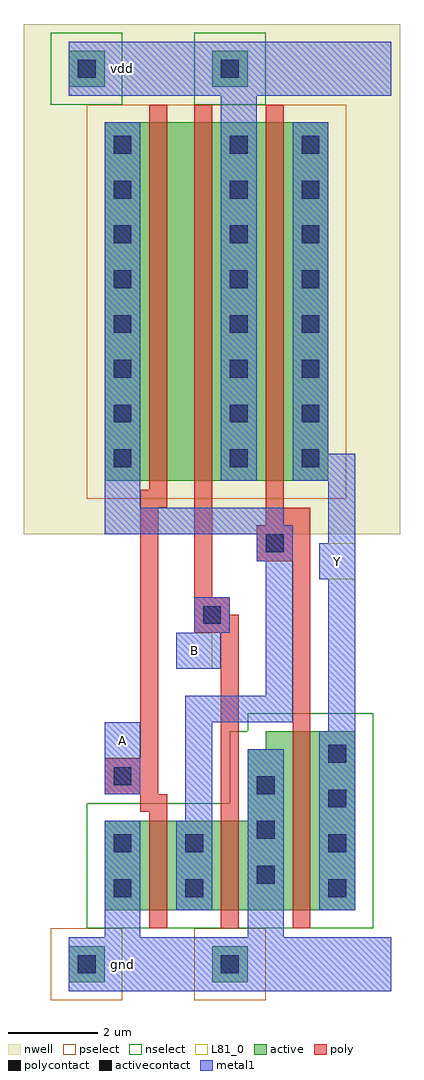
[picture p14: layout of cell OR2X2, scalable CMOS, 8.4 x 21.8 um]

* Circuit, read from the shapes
.subckt OR2X2 A B Y gnd vdd
M1 n1 A gnd gnd nfet w=2u l=0.4u
M2 gnd B n1 gnd nfet w=2u l=0.4u
M3 Y n1 gnd gnd nfet w=4u l=0.4u
M4 n2 A n1 vdd pfet w=8u l=0.4u
M5 vdd B n2 vdd pfet w=8u l=0.4u
M6 Y n1 vdd vdd pfet w=8u l=0.4u
.ends

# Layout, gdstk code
import gdstk
lib = gdstk.Library(unit=1e-6, precision=1e-09)
def R(c, l, rs):  # rectangles x0, y0, x1, y1
    for r in rs: c.add(gdstk.rectangle(r[:2], r[2:], *l))
def A(c, l, x, y, w, h, nx, ny, dx, dy):  # array of equal rectangles
    R(c, l, [(x+i*dx, y+j*dy, x+i*dx+w, y+j*dy+h) for i in range(nx) for j in range(ny)])
nwell = (42, 0)
active = (43, 0)
pselect = (44, 0)
nselect = (45, 0)
poly = (46, 0)
polycontact = (47, 0)
activecontact = (48, 0)
metal1 = (49, 0)
L81_0 = (81, 0)

or2x2 = lib.new_cell('OR2X2')
R(or2x2, nwell, [(-1.4,9.6,7,21)])
R(or2x2, active, [(-0.4,-0.4,0.4,0.4), (2.8,-0.4,3.6,0.4), (0.4,1.2,6,3.2), (3.6,3.2,6,4.8), (4,4.8,6,5.2), (0.4,10.8,5.4,18.8), (-0.4,19.6,0.4,20.4), (2.8,19.6,3.6,20.4)])
R(or2x2, pselect, [(-0.8,-0.8,0.8,0.8), (2.4,-0.8,4,0.8), (0,10.4,5.8,19.2)])
R(or2x2, nselect, [(0,0.8,6.4,3.6), (3.2,3.6,6.4,5.2), (3.6,5.2,6.4,5.6), (-0.8,19.2,0.8,20.8), (2.4,19.2,4,20.8)])
R(or2x2, poly, [(1.4,0.8,1.8,3.4), (3,0.8,3.4,7.4), (4.6,0.8,5,9), (1.2,3.4,1.8,3.8), (0.4,3.8,1.6,4.6), (1.2,4.6,1.6,10.2), (2.4,7.4,3.4,7.8), (2.4,7.8,3.2,8.2), (2.4,8.2,2.8,19.2), (3.8,9,5,9.8), (4,9.8,5,10.2), (1.2,10.2,1.8,10.6), (4,10.2,4.4,19.2), (1.4,10.6,1.8,19.2)])
R(or2x2, polycontact, [(0.6,4,1,4.4), (2.6,7.6,3,8), (4,9.2,4.4,9.6)])
A(or2x2, activecontact, 5.4, 1.5, 0.4, 0.4, 1, 4, 0, 1)
A(or2x2, activecontact, 3.8, 1.8, 0.4, 0.4, 1, 3, 0, 1)
A(or2x2, activecontact, 0.6, 11.1, 0.4, 0.4, 1, 8, 0, 1)
A(or2x2, activecontact, 3.2, 11.1, 0.4, 0.4, 1, 8, 0, 1)
A(or2x2, activecontact, 4.8, 11.1, 0.4, 0.4, 1, 8, 0, 1)
R(or2x2, activecontact, [(-0.2,-0.2,0.2,0.2), (3,-0.2,3.4,0.2), (0.6,1.5,1,1.9), (2.2,1.5,2.6,1.9), (0.6,2.5,1,2.9), (2.2,2.5,2.6,2.9), (-0.2,19.8,0.2,20.2), (3,19.8,3.4,20.2)])
R(or2x2, metal1, [(-0.4,-0.6,6.8,0.6), (0.4,0.6,1.2,3.2), (3.6,0.6,4.4,4.8), (2,1.2,2.8,3.2), (5.2,1.2,6,5.2), (2.2,3.2,2.8,5.4), (0.4,3.8,1.2,5.4), (5.4,5.2,6,8.6), (2.2,5.4,4.6,6), (4,6,4.6,9), (2,6.6,3,7.4), (2.4,7.4,3.2,8.2), (5.2,8.6,6,9.4), (3.8,9,4.6,9.6), (5.4,9.4,6,10.8), (0.4,9.6,4.6,9.8), (0.4,9.8,4.4,10.2), (0.4,10.2,1.2,18.8), (3,10.8,3.8,19.4), (4.6,10.8,6,11.4), (4.6,11.4,5.4,18.8), (-0.4,19.4,6.8,20.6)])
R(or2x2, L81_0, [(0.4,4.6,1.2,5.4), (2,6.6,2.8,7.4), (5.2,8.6,6,9.4)])
or2x2.add(gdstk.Label('Y', (5.6,9), layer=109, texttype=0))
or2x2.add(gdstk.Label('B', (2.4,7), layer=109, texttype=0))
or2x2.add(gdstk.Label('vdd', (0.8,20), layer=109, texttype=0))
or2x2.add(gdstk.Label('gnd', (0.8,0), layer=109, texttype=0))
or2x2.add(gdstk.Label('A', (0.8,5), layer=109, texttype=0))

lib.write_gds('OR2X2.gds')
